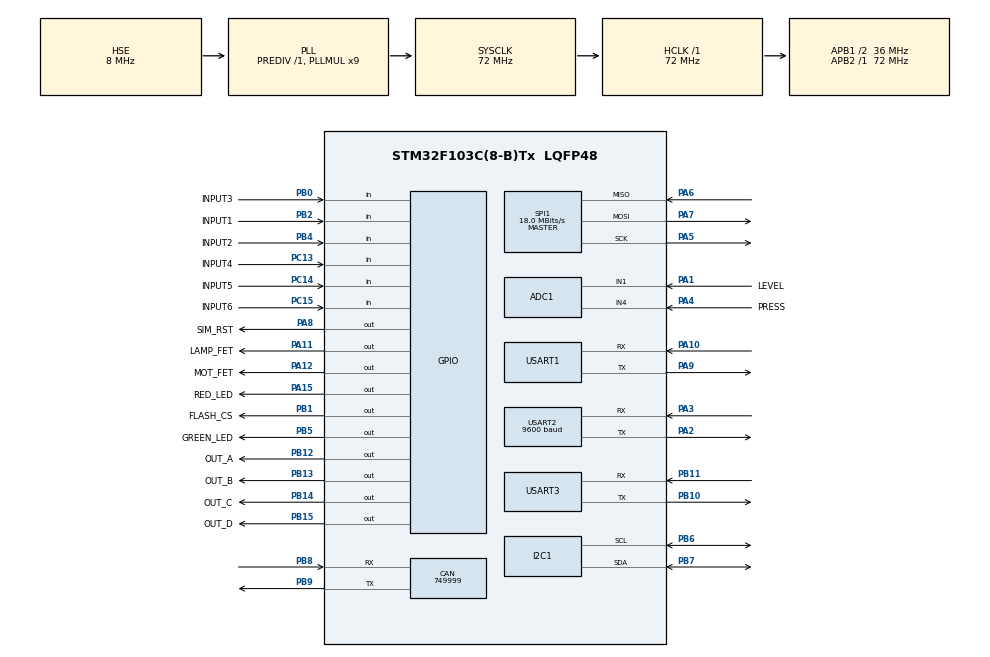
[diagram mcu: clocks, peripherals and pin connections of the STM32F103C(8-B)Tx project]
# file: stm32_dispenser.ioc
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ADC1.Channel-0\#ChannelRegularConversion=ADC_CHANNEL_VREFINT
ADC1.Channel-1\#ChannelRegularConversion=ADC_CHANNEL_1
ADC1.Channel-2\#ChannelRegularConversion=ADC_CHANNEL_4
ADC1.ContinuousConvMode=ENABLE
ADC1.NbrOfConversion=3
ADC1.NbrOfConversionFlag=1
ADC1.Rank-0\#ChannelRegularConversion=1
ADC1.Rank-1\#ChannelRegularConversion=2
ADC1.Rank-2\#ChannelRegularConversion=3
ADC1.SamplingTime-0\#ChannelRegularConversion=ADC_SAMPLETIME_239CYCLES_5
ADC1.SamplingTime-1\#ChannelRegularConversion=ADC_SAMPLETIME_239CYCLES_5
ADC1.SamplingTime-2\#ChannelRegularConversion=ADC_SAMPLETIME_239CYCLES_5
ADC1.master=1
CAN.CalculateBaudRate=749999
CAN.CalculateTimeBit=1333
CAN.CalculateTimeQuantum=444.44444444444446
Dma.ADC1.0.Direction=DMA_PERIPH_TO_MEMORY
Dma.ADC1.0.Instance=DMA1_Channel1
Dma.ADC1.0.MemDataAlignment=DMA_MDATAALIGN_HALFWORD
Dma.ADC1.0.MemInc=DMA_MINC_ENABLE
Dma.ADC1.0.Mode=DMA_NORMAL
Dma.ADC1.0.PeriphDataAlignment=DMA_PDATAALIGN_HALFWORD
Dma.ADC1.0.PeriphInc=DMA_PINC_DISABLE
Dma.ADC1.0.Priority=DMA_PRIORITY_LOW
Dma.Request0=ADC1
IWDG.Prescaler=IWDG_PRESCALER_8
IWDG.Reload=999
Mcu.Family=STM32F1
Mcu.Name=STM32F103C(8-B)Tx
Mcu.Package=LQFP48
NVIC.DMA1_Channel1_IRQn=true\:0\:0\:false\:false\:true\:false\:true\:true
NVIC.PriorityGroup=NVIC_PRIORITYGROUP_4
NVIC.USART1_IRQn=true\:0\:0\:false\:false\:true\:true\:true\:true
NVIC.USART2_IRQn=true\:0\:0\:false\:false\:true\:true\:true\:true
NVIC.USART3_IRQn=true\:0\:0\:false\:false\:true\:true\:true\:true
PA1.GPIO_Label=LEVEL
PA1.Signal=ADCx_IN1
PA10.Mode=Asynchronous
PA10.Signal=USART1_RX
PA11.GPIO_Label=LAMP_FET
PA11.Signal=GPIO_Output
PA12.GPIO_Label=MOT_FET
PA12.Signal=GPIO_Output
PA13.Mode=Trace_Asynchronous_SW
PA13.Signal=SYS_JTMS-SWDIO
PA14.Mode=Trace_Asynchronous_SW
PA14.Signal=SYS_JTCK-SWCLK
PA15.GPIO_Label=RED_LED
PA15.Signal=GPIO_Output
PA2.Mode=Asynchronous
PA2.Signal=USART2_TX
PA3.Mode=Asynchronous
PA3.Signal=USART2_RX
PA4.GPIO_Label=PRESS
PA4.Signal=ADCx_IN4
PA5.Mode=Full_Duplex_Master
PA5.Signal=SPI1_SCK
PA6.Mode=Full_Duplex_Master
PA6.Signal=SPI1_MISO
PA7.Mode=Full_Duplex_Master
PA7.Signal=SPI1_MOSI
PA8.GPIO_Label=SIM_RST
PA8.Signal=GPIO_Output
PA9.Mode=Asynchronous
PA9.Signal=USART1_TX
PB0.GPIO_Label=INPUT3
PB0.Signal=GPIO_Input
PB1.GPIO_Label=FLASH_CS
PB1.Signal=GPIO_Output
PB10.Mode=Asynchronous
PB10.Signal=USART3_TX
PB11.Mode=Asynchronous
PB11.Signal=USART3_RX
PB12.GPIO_Label=OUT_A
PB12.Signal=GPIO_Output
PB13.GPIO_Label=OUT_B
PB13.Signal=GPIO_Output
PB14.GPIO_Label=OUT_C
PB14.Signal=GPIO_Output
PB15.GPIO_Label=OUT_D
PB15.Signal=GPIO_Output
PB2.GPIO_Label=INPUT1
PB2.Signal=GPIO_Input
PB3.Mode=Trace_Asynchronous_SW
PB3.Signal=SYS_JTDO-TRACESWO
PB4.GPIO_Label=INPUT2
PB4.Signal=GPIO_Input
PB5.GPIO_Label=GREEN_LED
PB5.Signal=GPIO_Output
PB6.Mode=I2C
PB6.Signal=I2C1_SCL
PB7.Mode=I2C
PB7.Signal=I2C1_SDA
PB8.Mode=CAN_Activate
PB8.Signal=CAN_RX
PB9.Mode=CAN_Activate
PB9.Signal=CAN_TX
PC13-TAMPER-RTC.GPIO_Label=INPUT4
PC13-TAMPER-RTC.Signal=GPIO_Input
PC14-OSC32_IN.GPIO_Label=INPUT5
PC14-OSC32_IN.Signal=GPIO_Input
PC15-OSC32_OUT.GPIO_Label=INPUT6
PC15-OSC32_OUT.Signal=GPIO_Input
PD0-OSC_IN.Mode=HSE-External-Oscillator
PD0-OSC_IN.Signal=RCC_OSC_IN
PD1-OSC_OUT.Mode=HSE-External-Oscillator
PD1-OSC_OUT.Signal=RCC_OSC_OUT
ProjectManager.HeapSize=0x200
ProjectManager.StackSize=0x400
ProjectManager.TargetToolchain=STM32CubeIDE
RCC.ADCPresc=RCC_ADCPCLK2_DIV6
RCC.AHBFreq_Value=72000000
RCC.APB1CLKDivider=RCC_HCLK_DIV2
RCC.APB1Freq_Value=36000000
RCC.APB1TimFreq_Value=72000000
RCC.APB2Freq_Value=72000000
RCC.APB2TimFreq_Value=72000000
RCC.EnbaleCSS=true
RCC.HCLKFreq_Value=72000000
RCC.PLLMUL=RCC_PLL_MUL9
RCC.PLLSourceVirtual=RCC_PLLSOURCE_HSE
RCC.SYSCLKFreq_VALUE=72000000
RCC.SYSCLKSource=RCC_SYSCLKSOURCE_PLLCLK
RCC.USBFreq_Value=72000000
SH.ADCx_IN1.0=ADC1_IN1,IN1
SH.ADCx_IN4.0=ADC1_IN4,IN4
SPI1.BaudRatePrescaler=SPI_BAUDRATEPRESCALER_4
SPI1.CalculateBaudRate=18.0 MBits/s
SPI1.Direction=SPI_DIRECTION_2LINES
SPI1.Mode=SPI_MODE_MASTER
SPI1.VirtualType=VM_MASTER
USART1.VirtualMode=VM_ASYNC
USART2.BaudRate=9600
USART2.VirtualMode=VM_ASYNC
USART3.VirtualMode=VM_ASYNC
VP_ADC1_Vref_Input.Mode=IN-Vrefint
VP_IWDG_VS_IWDG.Mode=IWDG_Activate
board=custom

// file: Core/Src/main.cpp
/* USER CODE BEGIN Header */
/**
  ******************************************************************************
  * @file           : main.c
  * @brief          : Main program body
  ******************************************************************************
  * @attention
  *
  * Copyright (c) 2024 STMicroelectronics.
  * All rights reserved.
  *
  * This software is licensed under terms that can be found in the LICENSE file
  * in the root directory of this software component.
  * If no LICENSE file comes with this software, it is provided AS-IS.
  *
  ******************************************************************************
  */
/* USER CODE END Header */
#include "main.h"
#include "adc.h"
#include "can.h"
#include "dma.h"
#include "i2c.h"
#include "iwdg.h"
#include "spi.h"
#include "usart.h"
#include "gpio.h"

/* USER CODE BEGIN Includes */

#include <string.h>

#include "out.h"
#include "cmd.h"
#include "log.h"
#include "glog.h"
#include "pump.h"
#include "soul.h"
#include "tempr.h"
#include "level.h"
#include "ds1307.h"
#include "gutils.h"
#include "modbus.h"
#include "gsystem.h"
#include "w25qxx.h"
#include "settings.h"
#include "sim_module.h"

#include "Timer.h"

/* USER CODE END Includes */

/* USER CODE BEGIN PV */

#if defined(DEBUG)
static const char MAIN_TAG[] = "MAIN";
#endif

static char cmd_input_chr = 0;
static char sim_input_chr = 0;

/* USER CODE END PV */

void SystemClock_Config(void);
/* USER CODE BEGIN PFP */
void init_it();
/* USER CODE END PFP */

int main(void)
{
  /* USER CODE BEGIN 1 */

	system_init();

  /* USER CODE END 1 */

  /* MCU Configuration--------------------------------------------------------*/

  /* Reset of all peripherals, Initializes the Flash interface and the Systick. */
  HAL_Init();

  /* USER CODE BEGIN Init */
  if (is_error(SYS_TICK_ERROR)) {
	  system_hsi_config();
  } else {
  /* USER CODE END Init */

  /* Configure the system clock */
  SystemClock_Config();

  /* USER CODE BEGIN SysInit */
  }

#ifndef DEBUG
  /* USER CODE END SysInit */

  /* Initialize all configured peripherals */
  MX_DMA_Init();
  MX_GPIO_Init();
  MX_ADC1_Init();
  MX_I2C1_Init();
  MX_USART1_UART_Init();
  MX_USART3_UART_Init();
  MX_CAN_Init();
  MX_SPI1_Init();
  MX_USART2_UART_Init();
  MX_IWDG_Init();
  /* USER CODE BEGIN 2 */
#else
	MX_DMA_Init();
	MX_GPIO_Init();
	MX_ADC1_Init();
	MX_I2C1_Init();
	MX_USART1_UART_Init();
	MX_USART3_UART_Init();
	MX_CAN_Init();
	MX_SPI1_Init();
	MX_USART2_UART_Init();
#endif
  /* USER CODE END 2 */

  /* Infinite loop */
  /* USER CODE BEGIN WHILE */
    pump_init();

	log_init();

	system_register(settings_update,  20,  true);
	system_register(tempr_tick,       200, true);
	system_register(sim_process,      20,  true);
	system_register(level_tick,       200, true);
	system_register(pump_process,     20,  true);
	system_register(log_tick,         500, true);
	system_register(cmd_process,      20,  true);
//	system_register(modbus_tick,      10,  true);
	system_register(out_tick,         50,  true);

	init_it();

	set_status((SOUL_STATUS)HAS_NEW_RECORD);
	set_system_timeout(150 * SECOND_MS);
	system_start();

	while (1) {
    /* USER CODE END WHILE */

	}
}

void SystemClock_Config(void)
{
  RCC_OscInitTypeDef RCC_OscInitStruct = {};
  RCC_ClkInitTypeDef RCC_ClkInitStruct = {};
  RCC_PeriphCLKInitTypeDef PeriphClkInit = {};

  /** Initializes the RCC Oscillators according to the specified parameters
  * in the RCC_OscInitTypeDef structure.
  */
  RCC_OscInitStruct.OscillatorType = RCC_OSCILLATORTYPE_LSI|RCC_OSCILLATORTYPE_HSE;
  RCC_OscInitStruct.HSEState = RCC_HSE_ON;
  RCC_OscInitStruct.HSEPredivValue = RCC_HSE_PREDIV_DIV1;
  RCC_OscInitStruct.HSIState = RCC_HSI_ON;
  RCC_OscInitStruct.LSIState = RCC_LSI_ON;
  RCC_OscInitStruct.PLL.PLLState = RCC_PLL_ON;
  RCC_OscInitStruct.PLL.PLLSource = RCC_PLLSOURCE_HSE;
  RCC_OscInitStruct.PLL.PLLMUL = RCC_PLL_MUL9;
  if (HAL_RCC_OscConfig(&RCC_OscInitStruct) != HAL_OK)
  {
    Error_Handler();
  }

  /** Initializes the CPU, AHB and APB buses clocks
  */
  RCC_ClkInitStruct.ClockType = RCC_CLOCKTYPE_HCLK|RCC_CLOCKTYPE_SYSCLK
                              |RCC_CLOCKTYPE_PCLK1|RCC_CLOCKTYPE_PCLK2;
  RCC_ClkInitStruct.SYSCLKSource = RCC_SYSCLKSOURCE_PLLCLK;
  RCC_ClkInitStruct.AHBCLKDivider = RCC_SYSCLK_DIV1;
  RCC_ClkInitStruct.APB1CLKDivider = RCC_HCLK_DIV2;
  RCC_ClkInitStruct.APB2CLKDivider = RCC_HCLK_DIV1;

  if (HAL_RCC_ClockConfig(&RCC_ClkInitStruct, FLASH_LATENCY_2) != HAL_OK)
  {
    Error_Handler();
  }
  PeriphClkInit.PeriphClockSelection = RCC_PERIPHCLK_ADC;
  PeriphClkInit.AdcClockSelection = RCC_ADCPCLK2_DIV6;
  if (HAL_RCCEx_PeriphCLKConfig(&PeriphClkInit) != HAL_OK)
  {
    Error_Handler();
  }

  /** Enables the Clock Security System
  */
  HAL_RCC_EnableCSS();
}

/* USER CODE BEGIN 4 */

void init_it()
{
	HAL_UART_Receive_IT(&SIM_MODULE_UART, (uint8_t*) &sim_input_chr, sizeof(char));
	HAL_UART_Receive_IT(&CMD_UART, (uint8_t*) &cmd_input_chr, sizeof(char));
}

extern "C" void system_hse_config(void)
{
	SystemClock_Config();
}

void system_ready_check(void)
{
#ifndef DEBUG
	HAL_IWDG_Refresh(&hiwdg);
#endif
}

extern "C" void system_error_loop()
{
	static bool initialized = false;
	static gtimer_t led_timer = {};

#ifndef DEBUG
	HAL_IWDG_Refresh(&hiwdg);
#endif

	if (!initialized) {
		GPIO_InitTypeDef GPIO_InitStruct = {};

		__HAL_RCC_GPIOA_CLK_ENABLE();
		__HAL_RCC_GPIOB_CLK_ENABLE();

		GPIO_InitStruct.Pin = RED_LED_Pin;
		GPIO_InitStruct.Mode = GPIO_MODE_OUTPUT_PP;
		GPIO_InitStruct.Pull = GPIO_NOPULL;
		GPIO_InitStruct.Speed = GPIO_SPEED_FREQ_LOW;
		HAL_GPIO_Init(GPIOB, &GPIO_InitStruct);

		GPIO_InitStruct.Pin = LAMP_FET_Pin|GREEN_LED_Pin|MOT_FET_Pin;
		GPIO_InitStruct.Mode = GPIO_MODE_OUTPUT_PP;
		GPIO_InitStruct.Pull = GPIO_NOPULL;
		GPIO_InitStruct.Speed = GPIO_SPEED_FREQ_LOW;
		HAL_GPIO_Init(GPIOA, &GPIO_InitStruct);

		HAL_GPIO_WritePin(MOT_FET_GPIO_Port, MOT_FET_Pin, GPIO_PIN_RESET);

		HAL_GPIO_WritePin(RED_LED_GPIO_Port, RED_LED_Pin, GPIO_PIN_SET);
		HAL_GPIO_WritePin(GREEN_LED_GPIO_Port, GREEN_LED_Pin, GPIO_PIN_SET);
		HAL_GPIO_WritePin(LAMP_FET_GPIO_Port, LAMP_FET_Pin, GPIO_PIN_SET);

	}

	if (gtimer_wait(&led_timer)) {
		return;
	}
	gtimer_start(&led_timer, 300);
	HAL_GPIO_TogglePin(LAMP_FET_GPIO_Port, LAMP_FET_Pin);
	HAL_GPIO_TogglePin(GREEN_LED_GPIO_Port, GREEN_LED_Pin);
	HAL_GPIO_TogglePin(RED_LED_GPIO_Port, RED_LED_Pin);
}

#define CASE_STATUS(SOUL_STATUS) case SOUL_STATUS:                \
	                                 snprintf(                    \
									     name,                    \
									     sizeof(name) - 1,        \
									     "%s",                    \
									     __STR_DEF__(SOUL_STATUS) \
									 );                           \
									 break;
char* get_custom_status_name(SOUL_STATUS status)
{
	static char name[35] = { 0 };
	memset(name, 0, sizeof(name));

	switch (status) {
	CASE_STATUS(HAS_NEW_RECORD)
	CASE_STATUS(NEW_RECORD_WAS_NOT_SAVED)
	CASE_STATUS(MODBUS_ERROR)
	default:
		snprintf(name, sizeof(name) - 1, "%s", get_custom_status_name(status));
		break;
	}

	return name;
}
#undef CASE_STATUS

void HAL_UART_RxCpltCallback(UART_HandleTypeDef *huart) {
	if (huart->Instance == SIM_MODULE_UART.Instance) {
		sim_proccess_input(sim_input_chr);
		HAL_UART_Receive_IT(&SIM_MODULE_UART, (uint8_t*)&sim_input_chr, 1);
	} else if (huart->Instance == CMD_UART.Instance) {
		cmd_input(cmd_input_chr);
		HAL_UART_Receive_IT(&CMD_UART, (uint8_t*)&cmd_input_chr, 1);
	} else if (huart->Instance == RS485_UART.Instance) {
		modbus_input();
	} else {
		Error_Handler();
	}
}

/* USER CODE END 4 */

void Error_Handler(void)
{
  /* USER CODE BEGIN Error_Handler_Debug */
#ifdef DEBUG
    b_assert(__FILE__, __LINE__, "The error handler has been called");
#endif
    SOUL_STATUS err = has_errors() ? (SOUL_STATUS)get_first_error() : ERROR_HANDLER_CALLED;
	system_error_handler(err);
  /* USER CODE END Error_Handler_Debug */
}

#ifdef  USE_FULL_ASSERT
/**
  * @brief  Reports the name of the source file and the source line number
  *         where the assert_param error has occurred.
  * @param  file: pointer to the source file name
  * @param  line: assert_param error line source number
  * @retval None
  */
void assert_failed(uint8_t *file, uint32_t line)
{
  /* USER CODE BEGIN 6 */
#ifdef DEBUG
	b_assert((char*)file, line, "Wrong parameters value");
#endif
	SOUL_STATUS err = has_errors() ? (SOUL_STATUS)get_first_error() : ASSERT_ERROR;
	system_error_handler(err);
  /* USER CODE END 6 */
}
#endif /* USE_FULL_ASSERT */
